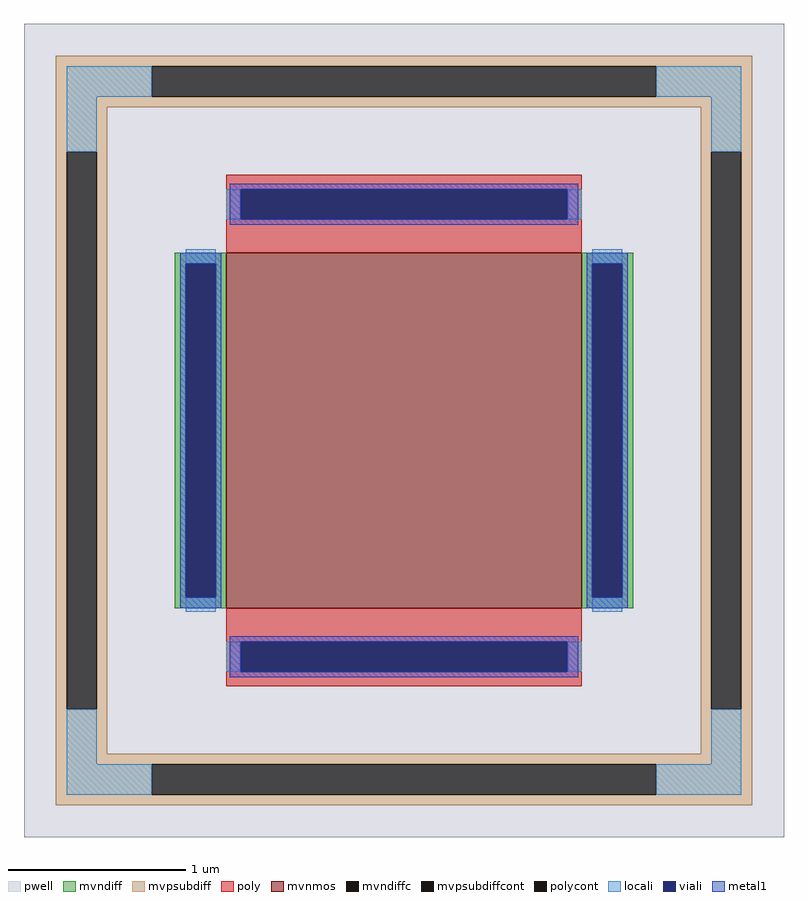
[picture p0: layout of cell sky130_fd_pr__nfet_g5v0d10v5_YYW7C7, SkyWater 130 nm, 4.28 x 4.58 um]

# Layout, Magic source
magic
tech sky130A
<< pwell >>
rect -214 -229 214 229
<< mvnmos >>
rect -100 -100 100 100
<< mvndiff >>
rect -129 94 -100 100
rect -129 -94 -123 94
rect -106 -94 -100 94
rect -129 -100 -100 -94
rect 100 94 129 100
rect 100 -94 106 94
rect 123 -94 129 94
rect 100 -100 129 -94
<< mvndiffc >>
rect -123 -94 -106 94
rect 106 -94 123 94
<< mvpsubdiff >>
rect -196 205 196 211
rect -196 188 -142 205
rect 142 188 196 205
rect -196 182 196 188
rect -196 157 -167 182
rect -196 -157 -190 157
rect -173 -157 -167 157
rect 167 157 196 182
rect -196 -182 -167 -157
rect 167 -157 173 157
rect 190 -157 196 157
rect 167 -182 196 -157
rect -196 -188 196 -182
rect -196 -205 -142 -188
rect 142 -205 196 -188
rect -196 -211 196 -205
<< mvpsubdiffcont >>
rect -142 188 142 205
rect -190 -157 -173 157
rect 173 -157 190 157
rect -142 -205 142 -188
<< poly >>
rect -100 136 100 144
rect -100 119 -92 136
rect 92 119 100 136
rect -100 100 100 119
rect -100 -119 100 -100
rect -100 -136 -92 -119
rect 92 -136 100 -119
rect -100 -144 100 -136
<< polycont >>
rect -92 119 92 136
rect -92 -136 92 -119
<< locali >>
rect -190 188 -142 205
rect 142 188 190 205
rect -190 157 -173 188
rect 173 157 190 188
rect -100 119 -92 136
rect 92 119 100 136
rect -123 94 -106 102
rect -123 -102 -106 -94
rect 106 94 123 102
rect 106 -102 123 -94
rect -100 -136 -92 -119
rect 92 -136 100 -119
rect -190 -188 -173 -157
rect 173 -188 190 -157
rect -190 -205 -142 -188
rect 142 -205 190 -188
<< viali >>
rect -92 119 92 136
rect -123 -94 -106 94
rect 106 -94 123 94
rect -92 -136 92 -119
<< metal1 >>
rect -98 136 98 139
rect -98 119 -92 136
rect 92 119 98 136
rect -98 116 98 119
rect -126 94 -103 100
rect -126 -94 -123 94
rect -106 -94 -103 94
rect -126 -100 -103 -94
rect 103 94 126 100
rect 103 -94 106 94
rect 123 -94 126 94
rect 103 -100 126 -94
rect -98 -119 98 -116
rect -98 -136 -92 -119
rect 92 -136 98 -119
rect -98 -139 98 -136
<< properties >>
string FIXED_BBOX -181 -196 181 196
string gencell sky130_fd_pr__nfet_g5v0d10v5
string library sky130
string parameters w 2.0 l 2.0 m 1 nf 1 diffcov 100 polycov 100 guard 1 glc 1 grc 1 gtc 1 gbc 1 tbcov 100 rlcov 100 topc 1 botc 1 poverlap 0 doverlap 1 lmin 0.50 wmin 0.42 compatible {sky130_fd_pr__nfet_01v8 sky130_fd_pr__nfet_01v8_lvt  sky130_fd_bs_flash__special_sonosfet_star  sky130_fd_pr__nfet_g5v0d10v5 sky130_fd_pr__nfet_05v0_nvt  sky130_fd_pr__nfet_03v3_nvt} full_metal 1 viasrc 100 viadrn 100 viagate 100 viagb 0 viagr 0 viagl 0 viagt 0
<< end >>
